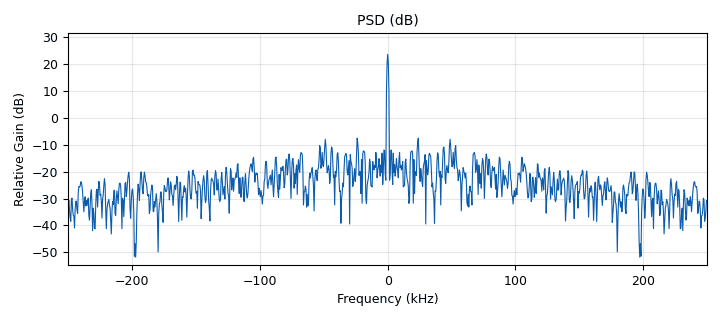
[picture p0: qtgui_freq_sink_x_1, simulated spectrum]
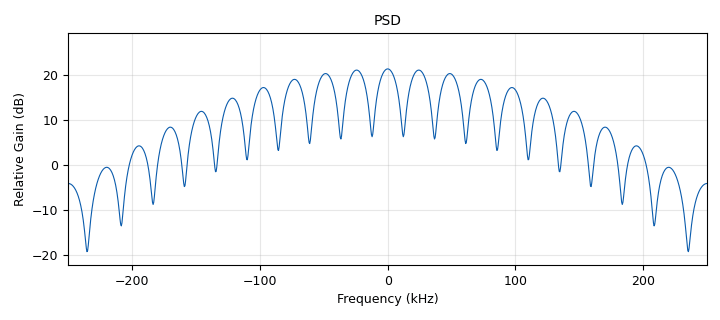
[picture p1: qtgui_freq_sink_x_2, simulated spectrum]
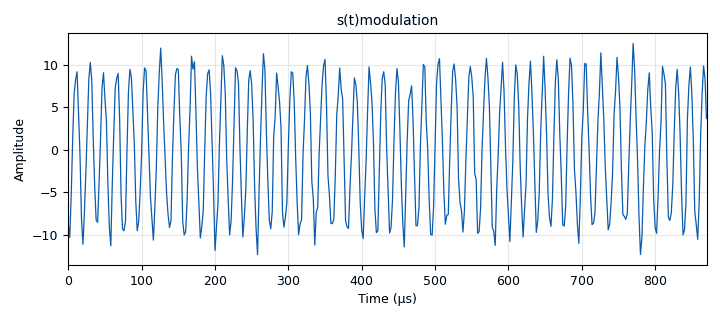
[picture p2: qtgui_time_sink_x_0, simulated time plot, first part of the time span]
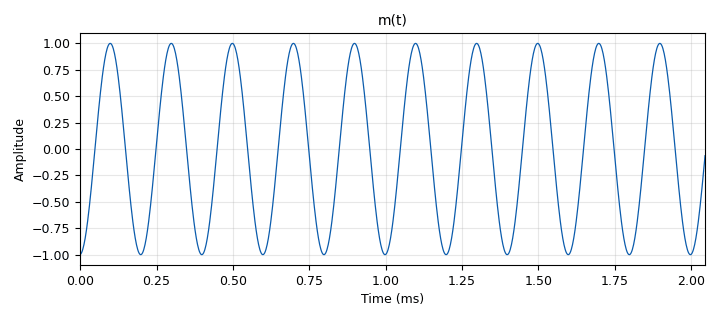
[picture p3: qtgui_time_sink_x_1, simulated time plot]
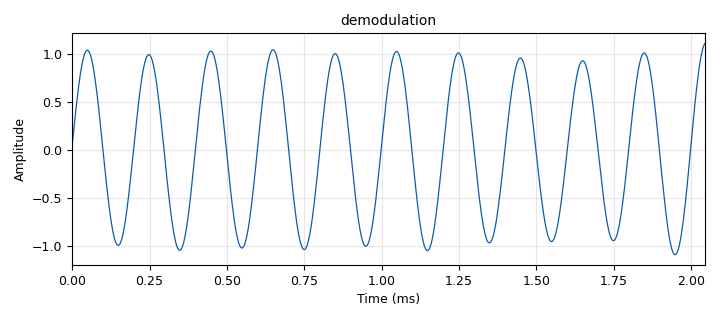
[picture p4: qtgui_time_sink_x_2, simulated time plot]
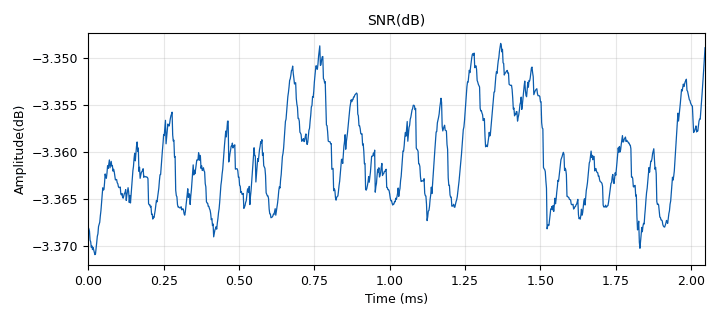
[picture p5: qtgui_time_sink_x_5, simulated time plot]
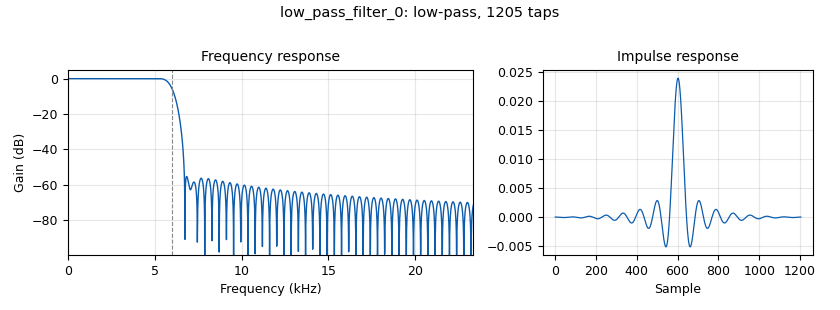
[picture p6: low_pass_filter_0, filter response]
options:
  parameters:
    author: Mostafa
    generate_options: qt_gui
    id: default
    output_language: python
    title: Not titled yet
  states: {}

blocks:
- name: beta
  id: variable_qtgui_range
  parameters:
    start: '0'
    step: '1'
    stop: '10'
    value: '1'
  states: {}
- name: fc
  id: variable_qtgui_range
  parameters:
    start: '40000'
    step: '1000'
    stop: '100000'
    value: '50000'
  states: {}
- name: fm
  id: variable_qtgui_range
  parameters:
    start: '0'
    step: '1000'
    stop: '10000'
    value: '5000'
  states: {}
- name: fsk_deviation_hz
  id: variable
  parameters:
    value: beta * fm
  states: {}
- name: noise_Amp
  id: variable_qtgui_range
  parameters:
    start: '0'
    step: '1'
    stop: '10'
    value: '1'
  states: {}
- name: samp_rate
  id: variable
  parameters:
    value: '500000'
  states: {}
- name: analog_const_source_x_0
  id: analog_const_source_x
  parameters:
    const: '0'
    type: float
  states: {}
- name: analog_const_source_x_1
  id: analog_const_source_x
  parameters:
    const: '0'
    type: float
  states: {}
- name: analog_const_source_x_2
  id: analog_const_source_x
  parameters:
    const: '0'
    type: float
  states: {}
- name: analog_noise_source_x_0
  id: analog_noise_source_x
  parameters:
    amp: noise_Amp
    noise_type: analog.GR_GAUSSIAN
    seed: '0'
    type: float
  states: {}
- name: analog_phase_modulator_fc_0
  id: analog_phase_modulator_fc
  parameters:
    sensitivity: '1'
  states: {}
- name: analog_quadrature_demod_cf_0
  id: analog_quadrature_demod_cf
  parameters:
    gain: '3.9'
  states: {}
- name: analog_sig_source_x_0
  id: analog_sig_source_x
  parameters:
    amp: '1'
    freq: fm
    offset: '0'
    phase: '0'
    samp_rate: '500000'
    type: float
    waveform: analog.GR_SIN_WAVE
  states: {}
- name: analog_sig_source_x_1
  id: analog_sig_source_x
  parameters:
    amp: '10'
    freq: fc
    offset: '0'
    phase: '0'
    samp_rate: samp_rate
    type: complex
    waveform: analog.GR_COS_WAVE
  states: {}
- name: blocks_add_xx_0
  id: blocks_add_xx
  parameters:
    type: float
  states: {}
- name: blocks_complex_to_mag_squared_0
  id: blocks_complex_to_mag_squared
  parameters: {}
  states: {}
- name: blocks_complex_to_mag_squared_1
  id: blocks_complex_to_mag_squared
  parameters: {}
  states: {}
- name: blocks_complex_to_mag_squared_2
  id: blocks_complex_to_mag_squared
  parameters: {}
  states: {}
- name: blocks_complex_to_real_0
  id: blocks_complex_to_real
  parameters: {}
  states: {}
- name: blocks_divide_xx_0
  id: blocks_divide_xx
  parameters:
    type: float
  states: {}
- name: blocks_float_to_complex_0
  id: blocks_float_to_complex
  parameters: {}
  states: {}
- name: blocks_float_to_complex_1
  id: blocks_float_to_complex
  parameters: {}
  states: {}
- name: blocks_float_to_complex_2
  id: blocks_float_to_complex
  parameters: {}
  states: {}
- name: blocks_multiply_const_vxx_0
  id: blocks_multiply_const_vxx
  parameters:
    const: beta
    type: float
  states: {}
- name: blocks_multiply_const_vxx_1
  id: blocks_multiply_const_vxx
  parameters:
    const: '4'
    type: float
  states: {}
- name: blocks_multiply_const_vxx_3
  id: blocks_multiply_const_vxx
  parameters:
    const: '10'
    type: float
  states: {}
- name: blocks_multiply_const_vxx_4
  id: blocks_multiply_const_vxx
  parameters:
    const: '10'
    type: float
  states: {}
- name: blocks_multiply_xx_0
  id: blocks_multiply_xx
  parameters:
    type: complex
  states: {}
- name: blocks_nlog10_ff_1
  id: blocks_nlog10_ff
  parameters:
    k: '0'
  states: {}
- name: blocks_nlog10_ff_2
  id: blocks_nlog10_ff
  parameters:
    k: '0'
  states: {}
- name: blocks_rms_xx_0
  id: blocks_rms_xx
  parameters:
    alpha: '0.0001'
    type: float
  states: {}
- name: blocks_rms_xx_1
  id: blocks_rms_xx
  parameters:
    alpha: '0.0001'
    type: float
  states: {}
- name: blocks_stream_to_vector_0
  id: blocks_stream_to_vector
  parameters:
    num_items: '1024'
    type: float
  states: {}
- name: blocks_throttle2_0
  id: blocks_throttle2
  parameters:
    samples_per_second: '500000'
    type: float
  states: {}
- name: blocks_vector_to_stream_0
  id: blocks_vector_to_stream
  parameters:
    num_items: '1024'
    type: complex
  states: {}
- name: dc_blocker_xx_0
  id: dc_blocker_xx
  parameters:
    length: '100'
    long_form: 'True'
    type: ff
  states: {}
- name: fft_vxx_0
  id: fft_vxx
  parameters:
    fft_size: '1024'
    forward: 'True'
    shift: 'True'
    type: float
    window: window.blackmanharris(1024)
  states: {}
- name: low_pass_filter_0
  id: low_pass_filter
  parameters:
    cutoff_freq: '6000'
    gain: '1'
    interp: '1'
    samp_rate: samp_rate
    type: interp_fir_filter_fff
    width: '1000'
    win: window.WIN_HAMMING
  states: {}
- name: qtgui_freq_sink_x_1
  id: qtgui_freq_sink_x
  parameters:
    autoscale: 'True'
    bw: samp_rate
    fc: '0'
    fftsize: '1024'
    name: PSD (dB)
    type: float
  states: {}
- name: qtgui_freq_sink_x_2
  id: qtgui_freq_sink_x
  parameters:
    autoscale: 'True'
    bw: samp_rate
    fc: '0'
    fftsize: '1024'
    name: 'PSD '
    type: float
    units: ''
  states: {}
- name: qtgui_time_sink_x_0
  id: qtgui_time_sink_x
  parameters:
    autoscale: 'True'
    name: s(t)modulation
    size: '1024'
    srate: '500000'
    type: float
  states: {}
- name: qtgui_time_sink_x_1
  id: qtgui_time_sink_x
  parameters:
    autoscale: 'True'
    name: m(t)
    size: '1024'
    srate: '500000'
    type: float
  states: {}
- name: qtgui_time_sink_x_2
  id: qtgui_time_sink_x
  parameters:
    autoscale: 'True'
    name: demodulation
    size: '1024'
    srate: samp_rate
    type: float
  states: {}
- name: qtgui_time_sink_x_5
  id: qtgui_time_sink_x
  parameters:
    autoscale: 'True'
    name: SNR(dB)
    size: '1024'
    srate: samp_rate
    type: float
    ylabel: Amplitude(dB)
  states: {}

connections:
- [analog_const_source_x_0, '0', blocks_float_to_complex_0, '1']
- [analog_const_source_x_1, '0', blocks_float_to_complex_1, '1']
- [analog_const_source_x_2, '0', blocks_float_to_complex_2, '1']
- [analog_noise_source_x_0, '0', blocks_add_xx_0, '1']
- [analog_noise_source_x_0, '0', blocks_rms_xx_1, '0']
- [analog_phase_modulator_fc_0, '0', blocks_multiply_xx_0, '1']
- [analog_quadrature_demod_cf_0, '0', dc_blocker_xx_0, '0']
- [analog_sig_source_x_0, '0', blocks_multiply_const_vxx_0, '0']
- [analog_sig_source_x_1, '0', blocks_multiply_xx_0, '0']
- [blocks_add_xx_0, '0', blocks_float_to_complex_0, '0']
- [blocks_add_xx_0, '0', qtgui_time_sink_x_0, '0']
- [blocks_complex_to_mag_squared_0, '0', blocks_divide_xx_0, '0']
- [blocks_complex_to_mag_squared_1, '0', blocks_divide_xx_0, '1']
- [blocks_complex_to_mag_squared_2, '0', blocks_nlog10_ff_2, '0']
- [blocks_complex_to_mag_squared_2, '0', qtgui_freq_sink_x_2, '0']
- [blocks_complex_to_real_0, '0', blocks_add_xx_0, '0']
- [blocks_divide_xx_0, '0', blocks_nlog10_ff_1, '0']
- [blocks_float_to_complex_0, '0', analog_quadrature_demod_cf_0, '0']
- [blocks_float_to_complex_1, '0', blocks_complex_to_mag_squared_0, '0']
- [blocks_float_to_complex_2, '0', blocks_complex_to_mag_squared_1, '0']
- [blocks_multiply_const_vxx_0, '0', blocks_throttle2_0, '0']
- [blocks_multiply_const_vxx_0, '0', qtgui_time_sink_x_1, '0']
- [blocks_multiply_const_vxx_1, '0', blocks_rms_xx_0, '0']
- [blocks_multiply_const_vxx_1, '0', blocks_stream_to_vector_0, '0']
- [blocks_multiply_const_vxx_1, '0', qtgui_time_sink_x_2, '0']
- [blocks_multiply_const_vxx_3, '0', qtgui_time_sink_x_5, '0']
- [blocks_multiply_const_vxx_4, '0', qtgui_freq_sink_x_1, '0']
- [blocks_multiply_xx_0, '0', blocks_complex_to_real_0, '0']
- [blocks_nlog10_ff_1, '0', blocks_multiply_const_vxx_3, '0']
- [blocks_nlog10_ff_2, '0', blocks_multiply_const_vxx_4, '0']
- [blocks_rms_xx_0, '0', blocks_float_to_complex_1, '0']
- [blocks_rms_xx_1, '0', blocks_float_to_complex_2, '0']
- [blocks_stream_to_vector_0, '0', fft_vxx_0, '0']
- [blocks_throttle2_0, '0', analog_phase_modulator_fc_0, '0']
- [blocks_vector_to_stream_0, '0', blocks_complex_to_mag_squared_2, '0']
- [dc_blocker_xx_0, '0', low_pass_filter_0, '0']
- [fft_vxx_0, '0', blocks_vector_to_stream_0, '0']
- [low_pass_filter_0, '0', blocks_multiply_const_vxx_1, '0']

metadata:
  file_format: 1
  grc_version: 3.10.10.0
